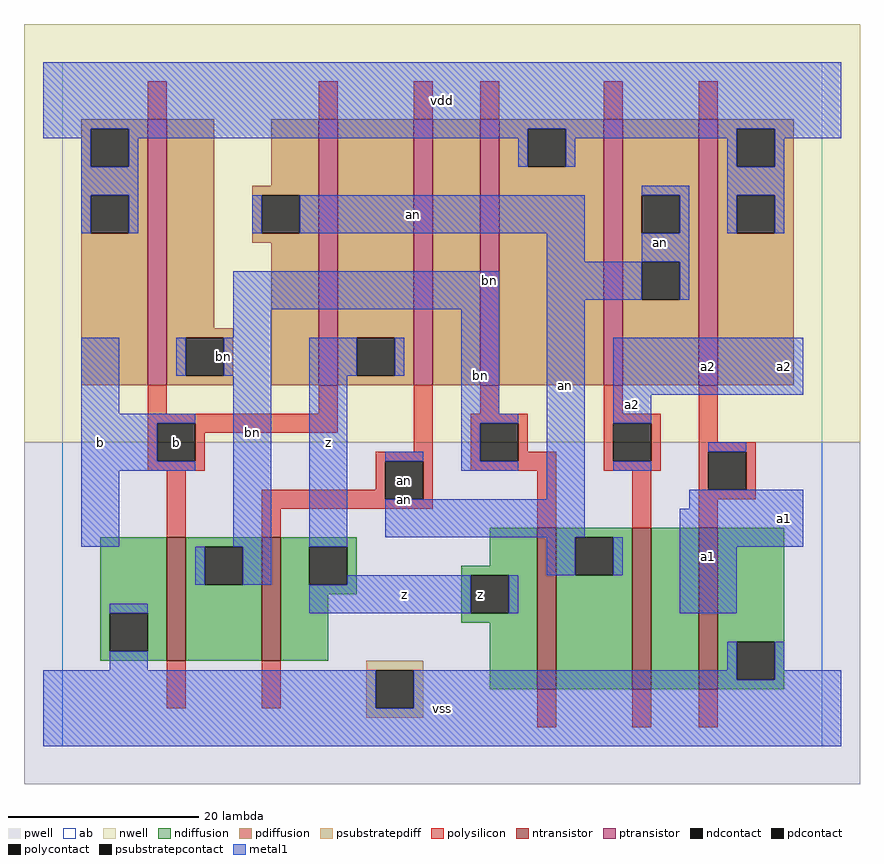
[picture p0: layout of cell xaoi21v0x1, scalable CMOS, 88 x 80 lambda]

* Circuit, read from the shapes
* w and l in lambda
.subckt xaoi21v0x1 a1 a2 an b bn vdd vss z
M1 bn b vss vss nfet w=13 l=2
M2 z an bn vss nfet w=13 l=2
M3 an bn z vss nfet w=17 l=2
M4 n1 a2 an vss nfet w=17 l=2
M5 vss a1 n1 vss nfet w=17 l=2
M6 bn b vdd n2 pfet w=28 l=2
M7 z b an n2 pfet w=28 l=2
M8 n3 an z n2 pfet w=28 l=2
M9 vdd bn n3 n2 pfet w=28 l=2
M10 an a2 vdd n2 pfet w=28 l=2
M11 vdd a1 an n2 pfet w=28 l=2
.ends

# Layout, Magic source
magic
tech scmos
<< ab >>
rect 0 0 80 72
<< pwell >>
rect -4 -4 84 32
<< nwell >>
rect -4 32 84 76
<< polysilicon >>
rect 9 66 11 70
rect 27 66 29 70
rect 37 66 39 70
rect 44 66 46 70
rect 57 66 59 70
rect 67 66 69 70
rect 9 35 11 38
rect 27 35 29 38
rect 9 34 29 35
rect 9 30 10 34
rect 14 33 29 34
rect 14 30 15 33
rect 37 31 39 38
rect 44 35 46 38
rect 57 35 59 38
rect 9 29 15 30
rect 33 30 39 31
rect 11 22 13 29
rect 33 27 34 30
rect 21 26 34 27
rect 38 26 39 30
rect 43 34 49 35
rect 43 30 44 34
rect 48 31 49 34
rect 57 34 63 35
rect 48 30 52 31
rect 43 29 52 30
rect 57 30 58 34
rect 62 30 63 34
rect 57 29 63 30
rect 67 32 69 38
rect 67 31 73 32
rect 21 25 39 26
rect 21 22 23 25
rect 50 23 52 29
rect 60 23 62 29
rect 67 27 68 31
rect 72 27 73 31
rect 67 26 73 27
rect 67 23 69 26
rect 11 4 13 9
rect 21 4 23 9
rect 50 2 52 6
rect 60 2 62 6
rect 67 2 69 6
<< ndiffusion >>
rect 4 14 11 22
rect 4 10 5 14
rect 9 10 11 14
rect 4 9 11 10
rect 13 21 21 22
rect 13 17 15 21
rect 19 17 21 21
rect 13 9 21 17
rect 23 21 31 22
rect 23 17 26 21
rect 30 17 31 21
rect 45 19 50 23
rect 23 16 31 17
rect 42 18 50 19
rect 23 9 28 16
rect 42 14 43 18
rect 47 14 50 18
rect 42 13 50 14
rect 45 6 50 13
rect 52 22 60 23
rect 52 18 54 22
rect 58 18 60 22
rect 52 6 60 18
rect 62 6 67 23
rect 69 11 76 23
rect 69 7 71 11
rect 75 7 76 11
rect 69 6 76 7
<< pdiffusion >>
rect 2 65 9 66
rect 2 61 3 65
rect 7 61 9 65
rect 2 58 9 61
rect 2 54 3 58
rect 7 54 9 58
rect 2 38 9 54
rect 11 44 16 66
rect 22 59 27 66
rect 20 58 27 59
rect 20 54 21 58
rect 25 54 27 58
rect 20 53 27 54
rect 11 43 18 44
rect 11 39 13 43
rect 17 39 18 43
rect 11 38 18 39
rect 22 38 27 53
rect 29 43 37 66
rect 29 39 31 43
rect 35 39 37 43
rect 29 38 37 39
rect 39 38 44 66
rect 46 65 57 66
rect 46 61 49 65
rect 53 61 57 65
rect 46 38 57 61
rect 59 58 67 66
rect 59 54 61 58
rect 65 54 67 58
rect 59 51 67 54
rect 59 47 61 51
rect 65 47 67 51
rect 59 38 67 47
rect 69 65 77 66
rect 69 61 71 65
rect 75 61 77 65
rect 69 58 77 61
rect 69 54 71 58
rect 75 54 77 58
rect 69 38 77 54
<< metal1 >>
rect -2 65 82 72
rect -2 64 3 65
rect 2 61 3 64
rect 7 64 49 65
rect 7 61 8 64
rect 48 61 49 64
rect 53 64 71 65
rect 53 61 54 64
rect 70 61 71 64
rect 75 64 82 65
rect 75 61 76 64
rect 2 58 8 61
rect 61 58 66 59
rect 2 54 3 58
rect 7 54 8 58
rect 20 54 21 58
rect 25 54 55 58
rect 51 51 55 54
rect 65 54 66 58
rect 70 58 76 61
rect 70 54 71 58
rect 75 54 76 58
rect 61 51 66 54
rect 18 46 46 50
rect 18 43 22 46
rect 2 35 6 43
rect 12 39 13 43
rect 17 39 22 43
rect 2 34 14 35
rect 2 30 10 34
rect 2 29 14 30
rect 2 21 6 29
rect 18 21 22 39
rect 14 17 15 21
rect 19 17 22 21
rect 26 39 31 43
rect 35 39 36 43
rect 26 21 30 39
rect 42 35 46 46
rect 51 47 61 51
rect 65 47 66 51
rect 42 34 48 35
rect 34 30 38 31
rect 42 30 44 34
rect 42 29 48 30
rect 51 26 55 47
rect 58 37 78 43
rect 58 34 62 37
rect 58 29 62 30
rect 68 31 72 32
rect 34 22 55 26
rect 66 25 78 27
rect 51 18 54 22
rect 58 18 59 22
rect 65 21 78 25
rect 30 17 43 18
rect 5 14 9 15
rect 26 14 43 17
rect 47 14 48 18
rect 65 14 71 21
rect 5 8 9 10
rect 70 8 71 11
rect -2 4 33 8
rect 37 7 71 8
rect 75 8 76 11
rect 75 7 82 8
rect 37 4 82 7
rect -2 0 82 4
<< ntransistor >>
rect 11 9 13 22
rect 21 9 23 22
rect 50 6 52 23
rect 60 6 62 23
rect 67 6 69 23
<< ptransistor >>
rect 9 38 11 66
rect 27 38 29 66
rect 37 38 39 66
rect 44 38 46 66
rect 57 38 59 66
rect 67 38 69 66
<< polycontact >>
rect 10 30 14 34
rect 34 26 38 30
rect 44 30 48 34
rect 58 30 62 34
rect 68 27 72 31
<< ndcontact >>
rect 5 10 9 14
rect 15 17 19 21
rect 26 17 30 21
rect 43 14 47 18
rect 54 18 58 22
rect 71 7 75 11
<< pdcontact >>
rect 3 61 7 65
rect 3 54 7 58
rect 21 54 25 58
rect 13 39 17 43
rect 31 39 35 43
rect 49 61 53 65
rect 61 54 65 58
rect 61 47 65 51
rect 71 61 75 65
rect 71 54 75 58
<< psubstratepcontact >>
rect 33 4 37 8
<< psubstratepdiff >>
rect 32 8 38 9
rect 32 4 33 8
rect 37 4 38 8
rect 32 3 38 4
<< labels >>
rlabel polycontact 36 28 36 28 6 an
rlabel ptransistor 45 49 45 49 6 bn
rlabel metal1 4 32 4 32 6 b
rlabel polycontact 12 32 12 32 6 b
rlabel metal1 36 16 36 16 6 z
rlabel metal1 36 26 36 26 6 an
rlabel metal1 28 32 28 32 6 z
rlabel metal1 20 33 20 33 6 bn
rlabel metal1 17 41 17 41 6 bn
rlabel metal1 40 4 40 4 6 vss
rlabel ndcontact 44 16 44 16 6 z
rlabel metal1 44 39 44 39 6 bn
rlabel metal1 37 56 37 56 6 an
rlabel metal1 53 38 53 38 6 an
rlabel metal1 40 68 40 68 6 vdd
rlabel metal1 68 20 68 20 6 a1
rlabel metal1 76 24 76 24 6 a1
rlabel metal1 68 40 68 40 6 a2
rlabel metal1 76 40 76 40 6 a2
rlabel metal1 60 36 60 36 6 a2
rlabel metal1 63 53 63 53 6 an
<< end >>
